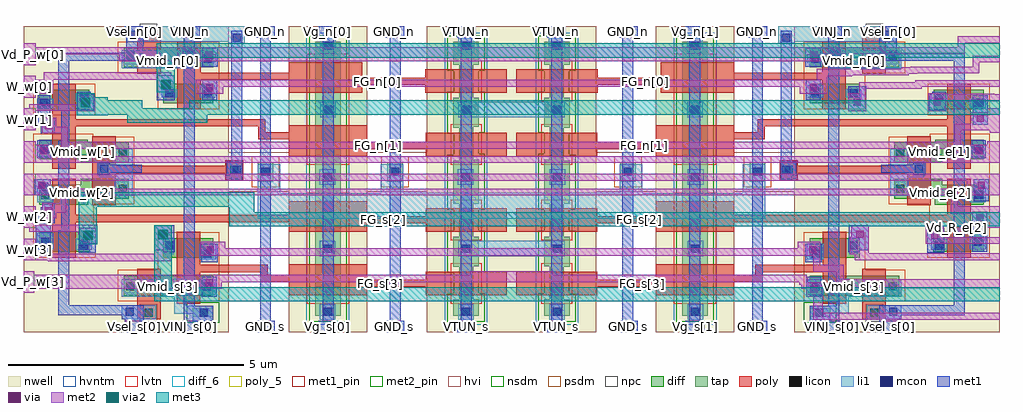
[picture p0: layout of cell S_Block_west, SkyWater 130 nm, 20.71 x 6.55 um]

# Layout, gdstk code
import gdstk
lib = gdstk.Library(unit=1e-6, precision=1e-09)
def R(c, l, rs):  # rectangles x0, y0, x1, y1
    for r in rs: c.add(gdstk.rectangle(r[:2], r[2:], *l))
def A(c, l, x, y, w, h, nx, ny, dx, dy):  # array of equal rectangles
    R(c, l, [(x+i*dx, y+j*dy, x+i*dx+w, y+j*dy+h) for i in range(nx) for j in range(ny)])
nwell = (64, 20)
diff_6 = (65, 6)
diff = (65, 20)
tap = (65, 44)
poly_5 = (66, 5)
poly = (66, 20)
licon = (66, 44)
li1 = (67, 20)
mcon = (67, 44)
met1_pin = (68, 16)
met1 = (68, 20)
via = (68, 44)
met2_pin = (69, 16)
met2 = (69, 20)
via2 = (69, 44)
met3 = (70, 20)
hvi = (75, 20)
nsdm = (93, 44)
psdm = (94, 20)
npc = (95, 20)
hvntm = (125, 20)
lvtn = (125, 44)

s_block_west = lib.new_cell('S_Block_west')
R(s_block_west, nwell, [(-2.7,-33.62,1.66,-27.12), (2.93,-33.62,4.59,-27.12), (5.86,-33.62,9.45,-27.12), (10.72,-33.62,12.38,-27.12), (13.65,-33.62,18.01,-27.12)])
R(s_block_west, diff_6, [(0.31,-32.72,0.45,-32.57), (14.86,-32.72,15,-32.57), (-1.51,-30.72,-1.37,-30.57), (16.68,-30.72,16.82,-30.57), (-1.49,-29.85,-1.35,-29.7), (16.66,-29.85,16.8,-29.7), (0.31,-27.92,0.45,-27.77), (14.86,-27.92,15,-27.77)])
R(s_block_west, diff, [(-0.57,-32.84,1.33,-32.42), (13.98,-32.84,15.88,-32.42), (0.27,-32.04,1.33,-31.62), (13.98,-32.04,15.04,-31.62), (-2.37,-31.91,-1.29,-31.49), (16.6,-31.91,17.68,-31.49), (-2.37,-30.91,-1.33,-30.78), (16.64,-30.91,17.68,-30.78), (-2.37,-30.78,-0.47,-30.49), (15.78,-30.78,17.68,-30.49), (-1.49,-30.49,-0.47,-30.36), (15.78,-30.49,16.8,-30.36), (-1.49,-30.01,-0.47,-29.95), (15.78,-30.01,16.8,-29.95), (-2.37,-29.95,-0.47,-29.59), (15.78,-29.95,17.68,-29.59), (-2.37,-29.59,-1.34,-29.53), (16.65,-29.59,17.68,-29.53), (-2.37,-28.89,-1.3,-28.47), (16.61,-28.89,17.68,-28.47), (0.27,-28.76,1.33,-28.34), (13.98,-28.76,15.04,-28.34), (-0.57,-28,1.33,-27.58), (13.98,-28,15.88,-27.58)])
R(s_block_west, tap, [(0.89,-33.29,1.33,-33.11), (13.98,-33.29,14.42,-33.11), (3.49,-33.27,4.03,-27.45), (6.42,-33.27,6.96,-32.93), (8.35,-33.27,8.89,-32.93), (11.28,-33.27,11.82,-27.45), (6.55,-32.93,6.96,-32.92), (8.35,-32.93,8.76,-32.92), (6.55,-32.92,6.84,-32.23), (8.47,-32.92,8.76,-32.23), (6.42,-32.23,6.84,-32.22), (8.47,-32.23,8.89,-32.22), (6.42,-32.22,6.96,-31.59), (8.35,-32.22,8.89,-31.59), (6.55,-31.59,6.84,-30.89), (8.47,-31.59,8.76,-30.89), (6.42,-30.89,6.96,-29.98), (8.35,-30.89,8.89,-29.98), (2.27,-30.42,2.6,-30.01), (5.02,-30.42,5.35,-30.01), (9.96,-30.42,10.29,-30.01), (12.71,-30.42,13.04,-30.01), (6.55,-29.98,6.96,-29.96), (8.35,-29.98,8.76,-29.96), (6.55,-29.96,6.84,-29.28), (8.47,-29.96,8.76,-29.28), (6.42,-29.28,6.84,-29.26), (8.47,-29.28,8.89,-29.26), (6.42,-29.26,6.96,-28.64), (8.35,-29.26,8.89,-28.64), (6.55,-28.64,6.84,-27.94), (8.47,-28.64,8.76,-27.94), (6.42,-27.94,6.96,-27.45), (8.35,-27.94,8.89,-27.45)])
R(s_block_west, poly_5, [(4.8,-32.65,4.94,-32.5), (10.37,-32.65,10.51,-32.5), (4.87,-31.31,5.01,-31.16), (10.3,-31.31,10.44,-31.16), (4.77,-29.73,4.91,-29.58), (10.4,-29.73,10.54,-29.58), (4.74,-28.37,4.88,-28.22), (10.43,-28.37,10.57,-28.22)])
R(s_block_west, poly, [(-0.29,-33.34,0.21,-32.27), (15.1,-33.34,15.6,-32.27), (0.55,-33.01,1.05,-32.34), (14.26,-33.01,14.76,-32.34), (2.93,-32.83,4.59,-32.65), (5.84,-32.83,7.55,-32.65), (7.76,-32.83,9.47,-32.65), (10.72,-32.83,12.38,-32.65), (2.93,-32.65,7.55,-32.55), (7.76,-32.65,12.38,-32.55), (2.32,-32.55,7.55,-32.5), (7.76,-32.55,12.99,-32.5), (2.32,-32.5,4.59,-32.4), (5.84,-32.5,7.55,-32.33), (7.76,-32.5,9.47,-32.33), (10.72,-32.5,12.99,-32.4), (2.32,-32.4,2.48,-32.34), (2.93,-32.4,4.59,-32.18), (10.72,-32.4,12.38,-32.18), (12.83,-32.4,12.99,-32.34), (0.55,-32.34,2.48,-32.19), (12.83,-32.34,14.76,-32.19), (0.55,-32.19,1.05,-31.49), (14.26,-32.19,14.76,-31.49), (-2.09,-32.04,-1.59,-31.28), (16.9,-32.04,17.4,-31.28), (2.93,-31.49,4.59,-31.31), (5.84,-31.49,7.55,-31.31), (7.76,-31.49,9.47,-31.31), (10.72,-31.49,12.38,-31.31), (2.93,-31.31,7.55,-31.28), (7.76,-31.31,12.38,-31.28), (-2.09,-31.28,7.55,-31.16), (7.76,-31.28,17.4,-31.16), (-2.09,-31.16,4.59,-31.13), (5.84,-31.16,7.55,-30.99), (7.76,-31.16,9.47,-30.99), (10.72,-31.16,17.4,-31.13), (-2.09,-31.13,-1.59,-30.36), (2.93,-31.13,4.59,-30.84), (10.72,-31.13,12.38,-30.84), (16.9,-31.13,17.4,-30.36), (-1.24,-30.92,-0.74,-30.24), (16.05,-30.92,16.55,-30.24), (1.58,-30.38,1.96,-30.24), (13.35,-30.38,13.73,-30.24), (-1.24,-30.24,1.96,-30.09), (13.35,-30.24,16.55,-30.09), (-2.09,-30.15,-1.59,-29.25), (16.9,-30.15,17.4,-29.25), (-1.24,-30.09,-0.74,-29.46), (1.58,-30.09,1.96,-29.97), (13.35,-30.09,13.73,-29.97), (16.05,-30.09,16.55,-29.46), (2.93,-29.88,4.59,-29.73), (5.84,-29.88,7.55,-29.73), (7.76,-29.88,9.47,-29.73), (10.72,-29.88,12.38,-29.73), (2.93,-29.73,7.55,-29.58), (7.76,-29.73,12.38,-29.58), (2.93,-29.58,4.59,-29.52), (5.84,-29.58,7.55,-29.38), (7.76,-29.58,9.47,-29.38), (10.72,-29.58,12.38,-29.52), (2.28,-29.52,4.59,-29.37), (10.72,-29.52,13.03,-29.37), (2.28,-29.37,2.43,-29.25), (2.93,-29.37,4.59,-29.23), (10.72,-29.37,12.38,-29.23), (12.88,-29.37,13.03,-29.25), (-2.09,-29.25,2.43,-29.1), (12.88,-29.25,17.4,-29.1), (-2.09,-29.1,-1.59,-28.34), (16.9,-29.1,17.4,-28.34), (0.56,-28.89,1.06,-28.26), (14.25,-28.89,14.75,-28.26), (2.93,-28.54,4.49,-28.37), (5.82,-28.54,7.55,-28.37), (7.76,-28.54,9.49,-28.37), (10.82,-28.54,12.38,-28.37), (2.93,-28.37,7.55,-28.26), (7.76,-28.37,12.38,-28.26), (0.56,-28.26,7.55,-28.22), (7.76,-28.26,14.75,-28.22), (0.56,-28.22,4.49,-28.11), (5.82,-28.22,7.55,-28.04), (7.76,-28.22,9.49,-28.04), (10.82,-28.22,14.75,-28.11), (-0.29,-28.13,0.21,-27.12), (15.1,-28.13,15.6,-27.12), (0.56,-28.11,1.06,-27.45), (2.93,-28.11,4.49,-27.89), (10.82,-28.11,12.38,-27.89), (14.25,-28.11,14.75,-27.45)])
R(s_block_west, licon, [(-0.13,-33.29,0.04,-33.12), (1.035,-33.29,1.205,-33.12), (14.105,-33.29,14.275,-33.12), (15.27,-33.29,15.44,-33.12), (3.67,-33.27,3.84,-33.1), (6.6,-33.27,6.77,-33.1), (8.54,-33.27,8.71,-33.1), (11.47,-33.27,11.64,-33.1), (1.115,-32.74,1.285,-32.57), (14.025,-32.74,14.195,-32.57), (-0.525,-32.73,-0.355,-32.56), (15.665,-32.73,15.835,-32.56), (1.115,-31.97,1.285,-31.8), (14.025,-31.97,14.195,-31.8), (3.67,-31.93,3.84,-31.76), (6.6,-31.93,6.77,-31.76), (8.54,-31.93,8.71,-31.76), (11.47,-31.93,11.64,-31.76), (0.315,-31.87,0.485,-31.7), (14.825,-31.87,14.995,-31.7), (-1.505,-31.84,-1.335,-31.67), (16.645,-31.84,16.815,-31.67), (-2.325,-31.78,-2.155,-31.61), (17.465,-31.78,17.635,-31.61), (-2.325,-30.78,-2.155,-30.61), (17.465,-30.78,17.635,-30.61), (-0.68,-30.66,-0.51,-30.49), (15.82,-30.66,15.99,-30.49), (3.66,-30.41,3.83,-30.24), (6.59,-30.41,6.76,-30.24), (8.55,-30.41,8.72,-30.24), (11.48,-30.41,11.65,-30.24), (2.35,-30.3,2.52,-30.13), (5.1,-30.3,5.27,-30.13), (10.04,-30.3,10.21,-30.13), (12.79,-30.3,12.96,-30.13), (1.69,-30.25,1.86,-30.08), (13.45,-30.25,13.62,-30.08), (-0.68,-29.89,-0.51,-29.72), (15.82,-29.89,15.99,-29.72), (-2.325,-29.81,-2.155,-29.64), (17.465,-29.81,17.635,-29.64), (3.68,-28.98,3.85,-28.81), (6.61,-28.98,6.78,-28.81), (8.53,-28.98,8.7,-28.81), (11.46,-28.98,11.63,-28.81), (-2.325,-28.83,-2.155,-28.66), (17.465,-28.83,17.635,-28.66), (-1.51,-28.72,-1.34,-28.55), (16.65,-28.72,16.82,-28.55), (1.12,-28.64,1.29,-28.47), (14.02,-28.64,14.19,-28.47), (0.31,-28.63,0.48,-28.46), (14.83,-28.63,15,-28.46), (1.12,-27.9,1.29,-27.73), (14.02,-27.9,14.19,-27.73), (-0.525,-27.84,-0.355,-27.67), (15.665,-27.84,15.835,-27.67), (3.68,-27.62,3.85,-27.45), (6.61,-27.62,6.78,-27.45), (8.53,-27.62,8.7,-27.45), (11.46,-27.62,11.63,-27.45), (-0.13,-27.34,0.04,-27.17), (15.27,-27.34,15.44,-27.17)])
R(s_block_west, li1, [(0.89,-33.4,1.33,-33.23), (13.98,-33.4,14.42,-33.23), (3.59,-33.35,3.92,-33.02), (6.52,-33.35,6.85,-33.02), (8.46,-33.35,8.79,-33.02), (11.39,-33.35,11.72,-33.02), (-0.61,-33.34,0.12,-33.04), (15.19,-33.34,15.92,-33.04), (0.5,-33.23,1.33,-33.06), (13.98,-33.23,14.81,-33.06), (0.5,-33.06,0.75,-32.87), (14.56,-33.06,14.81,-32.87), (-0.61,-32.87,0.75,-32.49), (14.56,-32.87,15.92,-32.49), (1.03,-32.82,1.37,-32.49), (13.94,-32.82,14.28,-32.49), (0.5,-32.49,0.75,-32.48), (14.56,-32.49,14.81,-32.48), (1.03,-32.07,1.38,-32.04), (13.93,-32.07,14.28,-32.04), (1.03,-32.04,1.39,-31.74), (13.92,-32.04,14.28,-31.74), (3.59,-32.01,3.92,-31.68), (6.52,-32.01,8.79,-31.68), (11.39,-32.01,11.72,-31.68), (0.31,-31.96,0.49,-31.61), (14.82,-31.96,15,-31.61), (-1.59,-31.87,-1.25,-31.63), (16.56,-31.87,16.9,-31.63), (-2.41,-31.86,-2.07,-31.51), (17.38,-31.86,17.72,-31.51), (2.27,-31.21,13.04,-30.67), (-2.41,-30.86,-2.07,-30.53), (17.38,-30.86,17.72,-30.53), (-0.76,-30.72,-0.38,-30.33), (15.69,-30.72,16.07,-30.33), (2.27,-30.67,2.75,-30.05), (4.88,-30.67,10.43,-30.66), (12.56,-30.67,13.04,-30.05), (4.88,-30.66,5.36,-30.05), (9.95,-30.66,10.43,-30.05), (-2.35,-30.53,-2.18,-30.45), (3.58,-30.49,3.91,-30.16), (6.51,-30.49,6.84,-30.16), (8.47,-30.49,8.8,-30.16), (11.4,-30.49,11.73,-30.16), (1.61,-30.37,1.94,-29.99), (13.37,-30.37,13.7,-29.99), (-1.1,-30.33,-0.38,-30.02), (15.69,-30.33,16.41,-30.02), (-0.76,-30.02,-0.38,-29.72), (15.69,-30.02,16.07,-29.72), (-2.41,-29.89,-2.07,-29.64), (17.38,-29.89,17.72,-29.64), (3.6,-29.06,3.93,-28.73), (6.53,-29.06,8.78,-28.73), (11.38,-29.06,11.71,-28.73), (-2.41,-28.87,-2.07,-28.66), (17.38,-28.87,17.72,-28.66), (-1.59,-28.72,-1.24,-28.55), (16.55,-28.72,16.9,-28.55), (1.04,-28.64,1.37,-28.6), (13.94,-28.64,14.27,-28.6), (0.23,-28.63,0.56,-28.46), (14.75,-28.63,15.08,-28.46), (1.04,-28.6,1.41,-28.43), (13.9,-28.6,14.27,-28.43), (1.04,-28.43,1.37,-28.38), (13.94,-28.43,14.27,-28.38), (-0.61,-28.02,0.89,-27.63), (14.42,-28.02,15.92,-27.63), (1.06,-27.98,1.33,-27.89), (13.98,-27.98,14.25,-27.89), (1.06,-27.89,1.38,-27.72), (13.93,-27.89,14.25,-27.72), (1.06,-27.72,1.33,-27.65), (13.98,-27.72,14.25,-27.65), (3.6,-27.7,3.93,-27.37), (6.53,-27.7,6.86,-27.37), (8.45,-27.7,8.78,-27.37), (11.38,-27.7,11.71,-27.37), (1.66,-27.49,2,-27.45), (13.31,-27.49,13.65,-27.45), (-0.51,-27.45,2,-27.12), (13.31,-27.45,15.82,-27.12)])
R(s_block_west, mcon, [(1.035,-33.29,1.205,-33.12), (14.105,-33.29,14.275,-33.12), (-0.53,-33.27,-0.36,-33.1), (3.68,-33.27,3.85,-33.1), (6.61,-33.27,6.78,-33.1), (8.53,-33.27,8.7,-33.1), (11.46,-33.27,11.63,-33.1), (15.67,-33.27,15.84,-33.1), (1.115,-32.73,1.285,-32.56), (14.025,-32.73,14.195,-32.56), (1.115,-32.04,1.285,-31.87), (14.025,-32.04,14.195,-31.87), (3.68,-31.93,3.85,-31.76), (6.61,-31.93,6.78,-31.76), (8.53,-31.93,8.7,-31.76), (11.46,-31.93,11.63,-31.76), (-1.5,-31.87,-1.33,-31.7), (16.64,-31.87,16.81,-31.7), (0.31,-31.86,0.48,-31.69), (14.83,-31.86,15,-31.69), (-2.325,-31.78,-2.155,-31.61), (17.465,-31.78,17.635,-31.61), (17.49,-30.78,17.66,-30.61), (-2.35,-30.62,-2.18,-30.45), (3.68,-30.41,3.85,-30.24), (6.61,-30.41,6.78,-30.24), (8.53,-30.41,8.7,-30.24), (11.46,-30.41,11.63,-30.24), (2.35,-30.3,2.52,-30.13), (5.1,-30.3,5.27,-30.13), (10.04,-30.3,10.21,-30.13), (12.79,-30.3,12.96,-30.13), (1.74,-30.25,1.91,-30.08), (13.4,-30.25,13.57,-30.08), (-1.07,-30.23,-0.9,-30.06), (16.21,-30.23,16.38,-30.06), (-2.34,-29.82,-2.17,-29.65), (17.48,-29.82,17.65,-29.65), (3.68,-28.98,3.85,-28.81), (6.61,-28.98,6.78,-28.81), (8.53,-28.98,8.7,-28.81), (11.46,-28.98,11.63,-28.81), (-2.355,-28.83,-2.185,-28.66), (17.495,-28.83,17.665,-28.66), (-1.5,-28.72,-1.33,-28.55), (16.64,-28.72,16.81,-28.55), (0.31,-28.63,0.48,-28.46), (14.83,-28.63,15,-28.46), (1.12,-28.59,1.29,-28.42), (14.02,-28.59,14.19,-28.42), (1.12,-27.9,1.29,-27.73), (14.02,-27.9,14.19,-27.73), (0.72,-27.82,0.89,-27.65), (14.42,-27.82,14.59,-27.65), (3.68,-27.62,3.85,-27.45), (6.61,-27.62,6.78,-27.45), (8.53,-27.62,8.7,-27.45), (11.46,-27.62,11.63,-27.45), (1.74,-27.45,1.91,-27.28), (13.4,-27.45,13.57,-27.28), (-0.42,-27.39,-0.25,-27.22), (15.56,-27.39,15.73,-27.22)])
R(s_block_west, met1_pin, [(-0.55,-33.62,-0.15,-33.37), (-0.55,-33.62,-0.15,-33.37), (0.65,-33.62,1.05,-33.37), (0.65,-33.62,1.05,-33.37), (2.23,-33.62,2.63,-33.37), (3.56,-33.62,3.96,-33.37), (3.56,-33.62,3.96,-33.37), (4.98,-33.62,5.38,-33.37), (6.5,-33.62,6.9,-33.37), (8.41,-33.62,8.81,-33.37), (9.93,-33.62,10.33,-33.37), (11.35,-33.62,11.75,-33.37), (11.35,-33.62,11.75,-33.37), (12.68,-33.62,13.08,-33.37), (14.26,-33.62,14.66,-33.37), (14.26,-33.62,14.66,-33.37), (15.46,-33.62,15.86,-33.37), (15.46,-33.62,15.86,-33.37), (-0.55,-27.37,-0.15,-27.12), (-0.55,-27.37,-0.15,-27.12), (0.65,-27.37,1.05,-27.12), (0.65,-27.37,1.05,-27.12), (2.23,-27.37,2.63,-27.12), (3.56,-27.37,3.96,-27.12), (3.56,-27.37,3.96,-27.12), (4.98,-27.37,5.38,-27.12), (6.5,-27.37,6.9,-27.12), (8.41,-27.37,8.81,-27.12), (9.93,-27.37,10.33,-27.12), (11.35,-27.37,11.75,-27.12), (11.35,-27.37,11.75,-27.12), (12.68,-27.37,13.08,-27.12), (14.26,-27.37,14.66,-27.12), (14.26,-27.37,14.66,-27.12), (15.46,-27.37,15.86,-27.12), (15.46,-27.37,15.86,-27.12)])
R(s_block_west, met1, [(-0.55,-33.62,-0.15,-33.34), (0.65,-33.62,1.05,-33.37), (2.23,-33.62,2.63,-33.37), (3.56,-33.62,3.96,-33.37), (4.98,-33.62,5.38,-33.37), (6.5,-33.62,6.9,-33.37), (8.41,-33.62,8.81,-33.37), (9.93,-33.62,10.33,-33.37), (11.35,-33.62,11.75,-33.37), (12.68,-33.62,13.08,-33.37), (14.26,-33.62,14.66,-33.37), (15.46,-33.62,15.86,-33.34), (0.7,-33.37,1.33,-33.06), (2.32,-33.37,2.55,-27.37), (3.65,-33.37,3.88,-27.37), (5.07,-33.37,5.3,-27.37), (6.58,-33.37,6.81,-27.37), (8.5,-33.37,8.73,-27.37), (10.01,-33.37,10.24,-27.37), (11.43,-33.37,11.66,-27.37), (12.76,-33.37,12.99,-27.37), (13.98,-33.37,14.61,-33.06), (-0.61,-33.34,-0.15,-33.26), (15.46,-33.34,15.92,-33.26), (-1.96,-33.26,-0.15,-33.04), (15.46,-33.26,17.27,-33.04), (0.7,-33.06,0.93,-27.88), (14.38,-33.06,14.61,-27.88), (-1.96,-33.04,-1.73,-31.45), (17.04,-33.04,17.27,-27.86), (13.91,-32.87,14.24,-32.56), (1.08,-32.86,1.4,-32.44), (13.91,-32.56,14.23,-32.44), (1.07,-32.13,1.42,-31.74), (13.89,-32.13,14.24,-31.74), (-1.53,-31.93,-1.17,-31.4), (16.48,-31.93,16.84,-31.4), (0.28,-31.92,0.51,-31.88), (14.8,-31.92,15.03,-31.88), (-2.44,-31.91,-2.12,-31.3), (17.43,-31.91,17.75,-31.06), (0.07,-31.88,0.51,-31.64), (14.8,-31.88,15.24,-31.64), (0.07,-31.64,0.5,-31.35), (14.81,-31.64,15.24,-31.35), (-1.9,-31.45,-1.73,-30.73), (-2.44,-31.3,-2.04,-31.06), (-2.33,-31.06,-2.04,-30.97), (-2.3,-30.97,-2.04,-30.87), (17.46,-30.84,17.78,-30.37), (-1.96,-30.73,-1.73,-29.55), (-2.47,-30.71,-2.12,-30.37), (1.71,-30.4,1.94,-30.3), (13.37,-30.4,13.6,-30.3), (1.61,-30.3,1.94,-29.99), (13.37,-30.3,13.7,-29.99), (-1.13,-30.29,-0.87,-30.23), (16.18,-30.29,16.44,-30.23), (-1.13,-30.23,-0.19,-30.06), (15.5,-30.23,16.44,-30.06), (-1.13,-30.06,-0.87,-30.02), (16.18,-30.06,16.44,-30.02), (-1.13,-30.02,-0.89,-30), (16.2,-30.02,16.44,-30), (1.71,-29.99,1.94,-27.22), (13.37,-29.99,13.6,-27.22), (-2.41,-29.93,-2.11,-29.54), (17.42,-29.93,17.72,-29.54), (-1.9,-29.55,-1.73,-28.92), (-2.33,-29.4,-2.04,-29.22), (-2.4,-29.22,-2.04,-29.07), (17.44,-29.22,17.76,-28.59), (-2.4,-29.07,-2.13,-28.59), (14.8,-28.93,15.18,-28.4), (-1.96,-28.92,-1.73,-27.86), (-1.55,-28.91,-1.21,-28.81), (16.52,-28.91,16.86,-28.81), (-1.56,-28.81,-1.21,-28.57), (16.52,-28.81,16.87,-28.57), (0.13,-28.69,0.51,-28.17), (1.09,-28.69,1.41,-28.26), (13.9,-28.69,14.22,-28.26), (-1.56,-28.57,-1.27,-28.51), (16.58,-28.57,16.87,-28.51), (1.09,-27.98,1.42,-27.58), (13.89,-27.98,14.22,-27.58), (0.68,-27.88,0.93,-27.61), (14.38,-27.88,14.63,-27.61), (-1.96,-27.86,-0.29,-27.72), (15.6,-27.86,17.27,-27.72), (-1.96,-27.72,-0.16,-27.69), (15.47,-27.72,17.27,-27.69), (-0.52,-27.69,-0.16,-27.52), (15.47,-27.69,15.83,-27.52), (0.7,-27.61,0.93,-27.37), (14.38,-27.61,14.61,-27.37), (-0.52,-27.52,-0.15,-27.37), (15.46,-27.52,15.83,-27.37), (-0.55,-27.37,-0.15,-27.12), (0.65,-27.37,1.05,-27.12), (2.23,-27.37,2.63,-27.12), (3.56,-27.37,3.96,-27.12), (4.98,-27.37,5.38,-27.12), (6.5,-27.37,6.9,-27.12), (8.41,-27.37,8.81,-27.12), (9.93,-27.37,10.33,-27.12), (11.35,-27.37,11.75,-27.12), (12.68,-27.37,13.08,-27.12), (14.26,-27.37,14.66,-27.12), (15.46,-27.37,15.86,-27.12)])
R(s_block_west, via, [(13.995,-32.785,14.145,-32.635), (1.165,-32.645,1.315,-32.495), (1.185,-31.945,1.335,-31.795), (13.975,-31.945,14.125,-31.795), (-1.405,-31.635,-1.255,-31.485), (16.565,-31.635,16.715,-31.485), (0.185,-31.615,0.335,-31.465), (14.975,-31.615,15.125,-31.465), (17.515,-31.265,17.665,-31.115), (-2.245,-31.115,-2.095,-30.965), (-2.385,-30.575,-2.235,-30.425), (17.545,-30.575,17.695,-30.425), (-2.345,-29.845,-2.195,-29.695), (17.505,-29.845,17.655,-29.695), (-2.245,-29.315,-2.095,-29.165), (17.525,-29.155,17.675,-29.005), (-1.455,-28.815,-1.305,-28.665), (14.915,-28.815,15.065,-28.665), (16.615,-28.815,16.765,-28.665), (1.175,-28.505,1.325,-28.355), (13.985,-28.505,14.135,-28.355), (0.245,-28.435,0.395,-28.285), (1.165,-27.815,1.315,-27.665), (13.995,-27.815,14.145,-27.665)])
A(s_block_west, met2_pin, -2.7, -32.09, 0.26, 0.46, 1, 7, 0, 0.69)
R(s_block_west, met2_pin, [(-2.7,-32.78,-2.47,-32.32), (17.04,-31.4,17.21,-31.37)])
R(s_block_west, met2, [(14.06,-33.35,18.01,-33.2), (14.06,-33.2,14.26,-32.87), (13.91,-32.87,14.26,-32.7), (-2.7,-32.78,-2.47,-32.7), (-2.7,-32.7,1.51,-32.56), (13.8,-32.7,14.26,-32.61), (14.55,-32.68,18.01,-32.49), (13.76,-32.61,14.26,-32.56), (-2.7,-32.56,13.94,-32.47), (14.55,-32.49,14.7,-32.33), (-2.7,-32.47,13.92,-32.4), (-2.7,-32.4,-2.47,-32.32), (6.78,-32.4,8.53,-32.32), (14.06,-32.33,14.7,-32.19), (14.06,-32.19,14.21,-32), (-2.19,-32.11,0.45,-32.09), (-2.7,-32.09,0.45,-31.95), (14.94,-32.09,18.01,-31.96), (1.05,-32,14.21,-31.84), (14.83,-31.96,18.01,-31.94), (-2.7,-31.95,-2.44,-31.63), (0.07,-31.95,0.45,-31.35), (14.83,-31.94,15.24,-31.6), (1.05,-31.84,1.58,-31.7), (13.73,-31.84,14.21,-31.7), (-1.52,-31.74,-1.14,-31.54), (16.45,-31.74,18.01,-31.6), (14.86,-31.6,15.24,-31.35), (16.45,-31.6,16.83,-31.37), (-1.54,-31.54,-1.14,-31.49), (-2.58,-31.49,-1.14,-31.4), (-2.7,-31.4,-1.14,-31.34), (17.75,-31.4,18.01,-31.32), (-2.7,-31.34,-2.44,-30.94), (17.43,-31.32,18.01,-31.1), (-2.3,-31.2,-2.01,-31.08), (16.98,-31.1,18.01,-30.94), (-2.3,-31.08,-1.79,-30.87), (16.98,-30.94,17.12,-30.71), (-1.93,-30.87,-1.79,-30.71), (-2.7,-30.71,-2.12,-30.4), (-1.93,-30.71,17.12,-30.57), (17.32,-30.71,18.01,-30.4), (-2.7,-30.4,18.01,-30.25), (-2.7,-30.02,18.01,-29.88), (-2.7,-29.88,-2.09,-29.64), (17.36,-29.88,18.01,-29.64), (-1.9,-29.72,17.2,-29.58), (-2.7,-29.64,-2.44,-29.56), (17.75,-29.64,18.01,-29.56), (-1.9,-29.58,-1.76,-29.4), (17.05,-29.58,17.2,-29.33), (-2.3,-29.4,-1.76,-29.26), (17.8,-29.39,18.01,-29.33), (-2.7,-29.33,-2.44,-28.92), (17.05,-29.33,18.01,-29.19), (-2.3,-29.26,-2.01,-29.07), (17.4,-29.19,18.01,-28.95), (17.75,-28.95,18.01,-28.87), (-1.57,-28.93,-1.19,-28.92), (14.8,-28.93,15.18,-28.55), (16.5,-28.93,16.88,-28.72), (-2.7,-28.92,-1.19,-28.87), (-2.58,-28.87,-1.19,-28.78), (-1.57,-28.78,-1.19,-28.55), (16.5,-28.72,18.01,-28.57), (-2.7,-28.64,-2.44,-28.56), (16.5,-28.57,17.9,-28.56), (-2.7,-28.56,-2.07,-28.26), (0.95,-28.56,1.54,-28.41), (13.77,-28.56,14.36,-28.41), (16.5,-28.56,16.88,-28.55), (15.03,-28.55,15.18,-28.45), (0.13,-28.53,0.51,-28.26), (15.03,-28.45,16.36,-28.41), (0.95,-28.41,14.36,-28.26), (15.03,-28.41,18.01,-28.31), (16.22,-28.31,18.01,-28.27), (-2.7,-28.26,-2.44,-28.18), (-2.27,-28.26,0.51,-28.17), (14.13,-28.26,14.36,-28.19), (14.13,-28.19,14.89,-28.17), (-2.27,-28.17,0.43,-28.1), (14.13,-28.17,16.08,-28.13), (14.13,-28.13,16.27,-28.12), (14.13,-28.12,17.58,-28.03), (15.94,-28.03,17.58,-27.99), (16.13,-27.99,17.58,-27.98), (17.44,-27.98,17.58,-27.89), (-2.7,-27.95,-2.44,-27.72), (17.44,-27.89,18.01,-27.75), (-0.67,-27.87,14.24,-27.72), (-2.7,-27.72,17.27,-27.57), (-2.7,-27.57,-2.44,-27.49), (17.12,-27.57,17.27,-27.49), (17.12,-27.49,18.01,-27.34)])
R(s_block_west, via2, [(-1.43,-31.66,-1.23,-31.46), (0.16,-31.64,0.36,-31.44), (-1.48,-28.84,-1.28,-28.64), (0.22,-28.46,0.42,-28.26)])
R(s_block_west, met3, [(0.07,-32.96,18.01,-32.66), (0.07,-32.66,0.45,-31.35), (-1.52,-31.75,-1.14,-31.37), (-1.53,-31.37,-1.15,-30.96), (1.67,-31.37,18.01,-31.07), (1.67,-31.07,2.2,-30.96), (-1.53,-30.96,2.2,-30.65), (-0.5,-29.17,1.2,-29), (-1.57,-29.01,-0.91,-29), (-1.57,-29,18.01,-28.87), (-1.57,-28.87,-0.18,-28.7), (0.82,-28.87,18.01,-28.7), (-1.57,-28.7,-0.91,-28.63), (-1.57,-28.63,-1.19,-28.55), (0.13,-28.53,0.51,-27.79), (0.13,-27.79,18.01,-27.49)])
R(s_block_west, hvi, [(-2.7,-33.62,1.66,-30.635), (2.93,-33.62,4.59,-30.635), (5.86,-33.62,9.45,-30.635), (10.72,-33.62,12.38,-30.635), (13.65,-33.62,18.01,-30.635), (-2.7,-30.635,18.01,-29.795), (-2.7,-29.795,1.66,-27.12), (2.93,-29.795,4.59,-27.12), (5.86,-29.795,9.45,-27.12), (10.72,-29.795,12.38,-27.12), (13.65,-29.795,18.01,-27.12)])
R(s_block_west, nsdm, [(0.765,-33.415,1.455,-32.985), (13.855,-33.415,14.545,-32.985), (3.365,-33.395,4.155,-27.325), (6.295,-33.395,7.085,-32.805), (8.225,-33.395,9.015,-32.805), (11.155,-33.395,11.945,-27.325), (6.425,-32.805,7.085,-32.795), (8.225,-32.805,8.885,-32.795), (6.425,-32.795,6.965,-32.355), (8.345,-32.795,8.885,-32.355), (6.295,-32.355,6.965,-32.345), (8.345,-32.355,9.015,-32.345), (6.295,-32.345,7.085,-31.465), (8.225,-32.345,9.015,-31.465), (6.425,-31.465,6.965,-31.015), (8.345,-31.465,8.885,-31.015), (6.295,-31.015,7.085,-29.855), (8.225,-31.015,9.015,-29.855), (6.425,-29.855,7.085,-29.835), (8.225,-29.855,8.885,-29.835), (6.425,-29.835,6.965,-29.405), (8.345,-29.835,8.885,-29.405), (6.295,-29.405,6.965,-29.385), (8.345,-29.405,9.015,-29.385), (6.295,-29.385,7.085,-28.515), (8.225,-29.385,9.015,-28.515), (6.425,-28.515,6.965,-28.065), (8.345,-28.515,8.885,-28.065), (6.295,-28.065,7.085,-27.325), (8.225,-28.065,9.015,-27.325)])
R(s_block_west, psdm, [(-0.695,-32.965,1.455,-32.295), (13.855,-32.965,16.005,-32.295), (0.145,-32.295,1.455,-31.495), (13.855,-32.295,15.165,-31.495), (-2.495,-32.035,-1.165,-31.365), (16.475,-32.035,17.805,-31.365), (-2.495,-31.365,-1.205,-30.905), (16.515,-31.365,17.805,-30.905), (-2.495,-30.905,-0.345,-29.465), (15.655,-30.905,17.805,-29.465), (2.145,-30.545,2.725,-29.885), (4.895,-30.545,5.475,-29.885), (9.835,-30.545,10.415,-29.885), (12.585,-30.545,13.165,-29.885), (-2.495,-29.465,-1.215,-29.405), (16.525,-29.465,17.805,-29.405), (-2.495,-29.015,-1.175,-28.345), (16.485,-29.015,17.805,-28.345), (0.145,-28.885,1.455,-28.125), (13.855,-28.885,15.165,-28.125), (-0.695,-28.125,1.455,-27.455), (13.855,-28.125,16.005,-27.455)])
R(s_block_west, npc, [(-0.23,-33.39,0.14,-33.02), (15.17,-33.39,15.54,-33.02), (1.59,-30.35,1.96,-29.98), (13.35,-30.35,13.72,-29.98), (-0.23,-27.44,0.14,-27.07), (15.17,-27.44,15.54,-27.07)])
R(s_block_west, hvntm, [(3.305,-33.455,4.215,-27.265), (6.235,-33.455,7.145,-27.265), (8.165,-33.455,9.075,-27.265), (11.095,-33.455,12.005,-27.265)])
R(s_block_west, lvtn, [(3.31,-33.01,4.21,-30.66), (6.37,-33.01,7.02,-32.15), (8.29,-33.01,8.94,-32.15), (11.1,-33.01,12,-30.66), (6.37,-31.67,7.02,-30.81), (8.29,-31.67,8.94,-30.81), (3.31,-30.06,4.21,-27.71), (6.37,-30.06,7.02,-29.2), (8.29,-30.06,8.94,-29.2), (11.1,-30.06,12,-27.71), (6.37,-28.72,7.02,-27.86), (8.29,-28.72,8.94,-27.86)])
s_block_west.add(gdstk.Label('FG_n[0]', (4.81,-28.295), layer=66, texttype=5))
s_block_west.add(gdstk.Label('FG_n[1]', (4.84,-29.655), layer=66, texttype=5))
s_block_west.add(gdstk.Label('FG_s[2]', (4.94,-31.235), layer=66, texttype=5))
s_block_west.add(gdstk.Label('FG_s[3]', (4.87,-32.575), layer=66, texttype=5))
s_block_west.add(gdstk.Label('FG_n[0]', (10.5,-28.295), layer=66, texttype=5))
s_block_west.add(gdstk.Label('FG_n[1]', (10.47,-29.655), layer=66, texttype=5))
s_block_west.add(gdstk.Label('FG_s[2]', (10.37,-31.235), layer=66, texttype=5))
s_block_west.add(gdstk.Label('FG_s[3]', (10.44,-32.575), layer=66, texttype=5))
s_block_west.add(gdstk.Label('Vmid_n[0]', (0.38,-27.845), layer=65, texttype=6))
s_block_west.add(gdstk.Label('Vmid_s[3]', (0.38,-32.645), layer=65, texttype=6))
s_block_west.add(gdstk.Label('Vmid_w[2]', (-1.44,-30.645), layer=65, texttype=6))
s_block_west.add(gdstk.Label('Vmid_w[1]', (-1.42,-29.775), layer=65, texttype=6))
s_block_west.add(gdstk.Label('Vmid_e[2]', (16.75,-30.645), layer=65, texttype=6))
s_block_west.add(gdstk.Label('Vmid_e[1]', (16.73,-29.775), layer=65, texttype=6))
s_block_west.add(gdstk.Label('Vmid_s[3]', (14.93,-32.645), layer=65, texttype=6))
s_block_west.add(gdstk.Label('Vmid_n[0]', (14.93,-27.845), layer=65, texttype=6))
s_block_west.add(gdstk.Label('Vsel_s[0]', (15.66,-33.495), layer=68, texttype=5))
s_block_west.add(gdstk.Label('Vsel_n[0]', (15.66,-27.245), layer=68, texttype=5))
s_block_west.add(gdstk.Label('Vsel_s[0]', (-0.35,-33.495), layer=68, texttype=5))
s_block_west.add(gdstk.Label('Vsel_n[0]', (-0.35,-27.245), layer=68, texttype=5))
s_block_west.add(gdstk.Label('VINJ_s[0]', (14.46,-33.495), layer=68, texttype=5))
s_block_west.add(gdstk.Label('VINJ_n[0]', (14.46,-27.245), layer=68, texttype=5))
s_block_west.add(gdstk.Label('VINJ_s[0]', (0.85,-33.495), layer=68, texttype=5))
s_block_west.add(gdstk.Label('VINJ_n[0]', (0.85,-27.245), layer=68, texttype=5))
s_block_west.add(gdstk.Label('Vg_s[0]', (3.76,-33.495), layer=68, texttype=5))
s_block_west.add(gdstk.Label('Vg_n[0]', (3.76,-27.245), layer=68, texttype=5))
s_block_west.add(gdstk.Label('Vg_s[1]', (11.55,-33.495), layer=68, texttype=5))
s_block_west.add(gdstk.Label('Vg_n[1]', (11.55,-27.245), layer=68, texttype=5))
s_block_west.add(gdstk.Label('Vd_P_w[3]', (-2.585,-32.55), layer=69, texttype=5))
s_block_west.add(gdstk.Label('Vd_R_e[2]', (17.125,-31.385), layer=69, texttype=5))
s_block_west.add(gdstk.Label('Vd_P_w[2]', (-2.57,-30.48), layer=69, texttype=5))
s_block_west.add(gdstk.Label('Vd_P_w[1]', (-2.57,-29.79), layer=69, texttype=5))
s_block_west.add(gdstk.Label('Vd_P_w[0]', (-2.57,-27.72), layer=69, texttype=5))
s_block_west.add(gdstk.Label('GND_s', (10.13,-33.495), layer=68, texttype=5))
s_block_west.add(gdstk.Label('GND_s', (12.88,-33.495), layer=68, texttype=5))
s_block_west.add(gdstk.Label('GND_n', (12.88,-27.245), layer=68, texttype=5))
s_block_west.add(gdstk.Label('GND_n', (10.13,-27.245), layer=68, texttype=5))
s_block_west.add(gdstk.Label('GND_s', (5.18,-33.495), layer=68, texttype=5))
s_block_west.add(gdstk.Label('GND_s', (2.43,-33.495), layer=68, texttype=5))
s_block_west.add(gdstk.Label('GND_n', (2.43,-27.245), layer=68, texttype=5))
s_block_west.add(gdstk.Label('GND_n', (5.18,-27.245), layer=68, texttype=5))
s_block_west.add(gdstk.Label('Vg_s', (11.55,-33.495), layer=68, texttype=5))
s_block_west.add(gdstk.Label('Vg_n', (11.55,-27.245), layer=68, texttype=5))
s_block_west.add(gdstk.Label('Vg_s', (3.76,-33.495), layer=68, texttype=5))
s_block_west.add(gdstk.Label('Vg_n', (3.76,-27.245), layer=68, texttype=5))
s_block_west.add(gdstk.Label('VTUN_s', (8.61,-33.495), layer=68, texttype=5))
s_block_west.add(gdstk.Label('VTUN_n', (8.61,-27.245), layer=68, texttype=5))
s_block_west.add(gdstk.Label('VTUN_s', (6.7,-33.495), layer=68, texttype=5))
s_block_west.add(gdstk.Label('VTUN_n', (6.7,-27.245), layer=68, texttype=5))
s_block_west.add(gdstk.Label('VINJ_s', (14.46,-33.495), layer=68, texttype=5))
s_block_west.add(gdstk.Label('VINJ_n', (14.46,-27.245), layer=68, texttype=5))
s_block_west.add(gdstk.Label('VINJ_s', (0.85,-33.495), layer=68, texttype=5))
s_block_west.add(gdstk.Label('VINJ_n', (0.85,-27.245), layer=68, texttype=5))
s_block_west.add(gdstk.Label('Vsel_s', (15.66,-33.495), layer=68, texttype=5))
s_block_west.add(gdstk.Label('Vsel_n', (15.66,-27.245), layer=68, texttype=5))
s_block_west.add(gdstk.Label('Vsel_s', (-0.35,-33.495), layer=68, texttype=5))
s_block_west.add(gdstk.Label('Vsel_n', (-0.35,-27.245), layer=68, texttype=5))
s_block_west.add(gdstk.Label('W_w[0]', (-2.57,-28.41), layer=69, texttype=5))
s_block_west.add(gdstk.Label('W_w[1]', (-2.57,-29.1), layer=69, texttype=5))
s_block_west.add(gdstk.Label('W_w[2]', (-2.57,-31.17), layer=69, texttype=5))
s_block_west.add(gdstk.Label('W_w[3]', (-2.57,-31.86), layer=69, texttype=5))

lib.write_gds('S_Block_west.gds')
